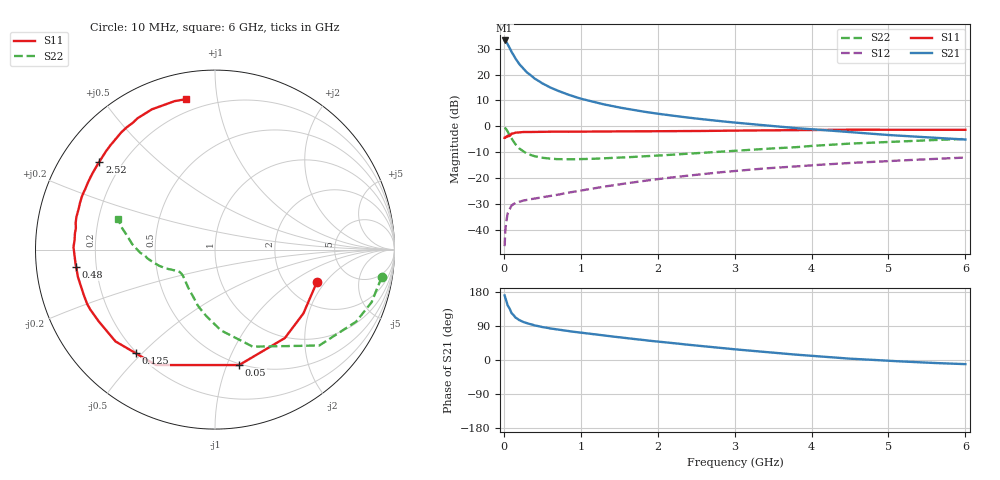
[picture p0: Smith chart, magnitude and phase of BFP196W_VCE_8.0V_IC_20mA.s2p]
! Infineon Technologies  Discrete & RF Semiconductors
! BFP196W
! VCE = 8.0 V,  IC =  20mA
! Common Emitter S-Parameters:  Jan 2016
# GHz  S  MA  R  50
!  f  S11  S21  S12  S22
! GHz  MAG  ANG  MAG  ANG  MAG  ANG  MAG  ANG
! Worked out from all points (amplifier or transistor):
!   210 points, 10 MHz to 6 GHz, reference 50 ohm
!   highest |S21| = 33.2 dB at 10 MHz (marker M1)
!   |S21| within 3 dB of that: start of sweep to 76.63 MHz
!   unconditionally stable (mu >= 1): 922.8 MHz to 3.385 GHz
!   at 185 MHz: K = 0.32, MSG = 27.0 dB, |S12| = -29.3 dB
!   at 1.52 GHz: K = 1.12, MAG = 12.7 dB, |S12| = -22.4 dB
!   at 6 GHz: K = 0.94, MSG = 3.5 dB, |S12| = -12.1 dB
!   S11 on the Smith chart (normalised r, x): 10 MHz: 2.93, -1.65; 50 MHz: 0.49, -1.11; 125 MHz: 0.20, -0.48; 480 MHz: 0.12, -0.06; 2.52 GHz: 0.12, +0.33; 6 GHz: 0.13, +0.82
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0.01  0.5958 -17.8  45.57 170.3  0.0048 80.8  0.9413 -9.4
0.02  0.6075 -35.8  45.18 164.0  0.0101 73.1  0.9204 -18.6
0.03  0.628 -51.7  43.41 156.9  0.0136 68.4  0.8825 -27.1
0.05  0.6572 -78.2  38.7 144.0  0.0207 57.8  0.7894 -42.6
0.1  0.7224 -117.1  27.56 123.7  0.0293 41.9  0.5801 -68.8
0.125  0.7269 -127.4  23.9 118.8  0.0311 38.2  0.5101 -76.2
0.15  0.7543 -137.3  20.49 112.1  0.033 34.9  0.4512 -85.8
0.2  0.7615 -148.5  15.96 105.3  0.0347 32.3  0.3733 -97.5
0.24  0.7711 -154.4  13.68 101.5  0.0361 31.4  0.3382 -104.4
0.3  0.7736 -161.1  10.99 96.9  0.0378 31.4  0.2951 -113.4
0.4  0.7788 -168.7  8.36 91.3  0.0399 33.0  0.2633 -123.6
0.48  0.7801 -172.9  7.069 87.9  0.0419 34.9  0.2492 -129.4
0.6  0.7831 -177.8  5.64 83.4  0.0448 37.4  0.2367 -136.1
0.7  0.7886 179.0  4.877 80.4  0.0473 39.8  0.2311 -139.6
1.02  0.7856 170.8  3.355 71.7  0.0577 45.7  0.2319 -146.8
1.4  0.7933 162.7  2.467 62.1  0.0713 49.4  0.243 -150.8
2.02  0.8013 151.2  1.733 48.3  0.0958 51.5  0.2715 -155.9
2.52  0.8094 142.7  1.401 37.7  0.1162 50.5  0.3017 -160.6
3.1  0.8253 133.4  1.14 26.6  0.1405 47.7  0.3426 -167.0
4.1  0.8503 119.2  0.855 9.7  0.1795 41.4  0.4248 -178.8
5.1  0.8549 108.4  0.663 -3.1  0.2156 34.3  0.5058 169.8
6  0.8537 101.0  0.554 -10.9  0.2482 28.3  0.5671 162.3
